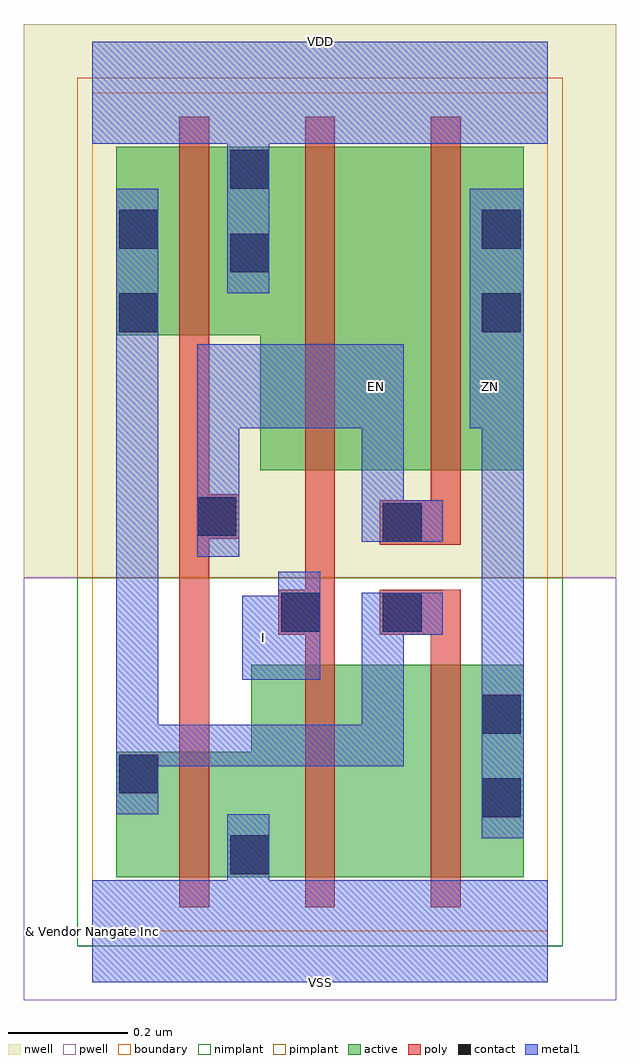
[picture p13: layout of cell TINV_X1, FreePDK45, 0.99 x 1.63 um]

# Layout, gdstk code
import gdstk
lib = gdstk.Library(unit=1e-6, precision=1e-10)
def R(c, l, rs):  # rectangles x0, y0, x1, y1
    for r in rs: c.add(gdstk.rectangle(r[:2], r[2:], *l))
def P(c, l, *ps):  # polygons
    for p in ps: c.add(gdstk.Polygon(p, *l))
active = (1, 0)
pwell = (2, 0)
nwell = (3, 0)
nimplant = (4, 0)
pimplant = (5, 0)
poly = (9, 0)
contact = (10, 0)
metal1 = (11, 0)
boundary = (235, 0)

tinv_x1 = lib.new_cell('TINV_X1')
P(tinv_x1, active, [(0.04,0.09),(0.04,0.3),(0.265,0.3),(0.265,0.445),(0.72,0.445),(0.72,0.09)],
  [(0.28,0.77),(0.28,0.995),(0.04,0.995),(0.04,1.31),(0.72,1.31),(0.72,0.77)])
R(tinv_x1, pwell, [(-0.115,-0.115,0.875,0.59)])
R(tinv_x1, nwell, [(-0.115,0.59,0.875,1.515)])
R(tinv_x1, nimplant, [(-0.025,-0.025,0.785,0.59)])
R(tinv_x1, pimplant, [(-0.025,0.59,0.785,1.425)])
P(tinv_x1, poly, [(0.145,0.04),(0.145,1.36),(0.195,1.36),(0.195,0.73),(0.245,0.73),(0.245,0.655),(0.195,0.655),(0.195,0.04)],
  [(0.355,0.04),(0.355,0.495),(0.31,0.495),(0.31,0.57),(0.355,0.57),(0.355,1.36),(0.405,1.36),(0.405,0.04)],
  [(0.565,0.04),(0.565,0.495),(0.48,0.495),(0.48,0.57),(0.615,0.57),(0.615,0.04)],
  [(0.48,0.645),(0.48,0.72),(0.565,0.72),(0.565,1.36),(0.615,1.36),(0.615,0.645)])
R(tinv_x1, contact, [(0.23,0.095,0.295,0.16), (0.65,0.19,0.715,0.255), (0.045,0.23,0.11,0.295), (0.65,0.33,0.715,0.395), (0.315,0.5,0.38,0.565), (0.485,0.5,0.55,0.565), (0.485,0.65,0.55,0.715), (0.175,0.66,0.24,0.725), (0.045,1,0.11,1.065), (0.65,1,0.715,1.065), (0.23,1.1,0.295,1.165), (0.045,1.14,0.11,1.205), (0.65,1.14,0.715,1.205), (0.23,1.24,0.295,1.305)])
P(tinv_x1, metal1, [(0.25,0.42),(0.25,0.56),(0.31,0.56),(0.31,0.6),(0.38,0.6),(0.38,0.42)],
  [(0.04,0.195),(0.04,1.24),(0.11,1.24),(0.11,0.345),(0.45,0.345),(0.45,0.565),(0.585,0.565),(0.585,0.495),(0.52,0.495),(0.52,0.275),(0.11,0.275),(0.11,0.195)],
  [(0.175,0.625),(0.175,0.98),(0.52,0.98),(0.52,0.72),(0.585,0.72),(0.585,0.65),(0.45,0.65),(0.45,0.84),(0.245,0.84),(0.245,0.625)],
  [(0.65,0.155),(0.65,0.84),(0.63,0.84),(0.63,1.24),(0.72,1.24),(0.72,0.155)],
  [(0,-0.085),(0,0.085),(0.225,0.085),(0.225,0.195),(0.295,0.195),(0.295,0.085),(0.76,0.085),(0.76,-0.085)],
  [(0.225,1.065),(0.225,1.315),(0,1.315),(0,1.485),(0.76,1.485),(0.76,1.315),(0.295,1.315),(0.295,1.065)])
R(tinv_x1, boundary, [(0,0,0.76,1.4)])
tinv_x1.add(gdstk.Label('EN', (0.475,0.91), layer=11, texttype=0))
tinv_x1.add(gdstk.Label('I', (0.285,0.49), layer=11, texttype=0))
tinv_x1.add(gdstk.Label('VDD', (0.38,1.485), layer=11, texttype=0))
tinv_x1.add(gdstk.Label('VSS', (0.38,-0.085), layer=11, texttype=0))
tinv_x1.add(gdstk.Label('ZN', (0.665,0.91), layer=11, texttype=0))
tinv_x1.add(gdstk.Label('& Vendor Nangate Inc', (0,0), layer=63, texttype=63))
tinv_x1.add(gdstk.Label('& Product Open Cell Library', (0,0), layer=63, texttype=63))
tinv_x1.add(gdstk.Label('& Version 2010_12', (0,0), layer=63, texttype=63))
tinv_x1.add(gdstk.Label('& Instance TINV_X1', (0,0), layer=63, texttype=63))

lib.write_gds('TINV_X1.gds')
